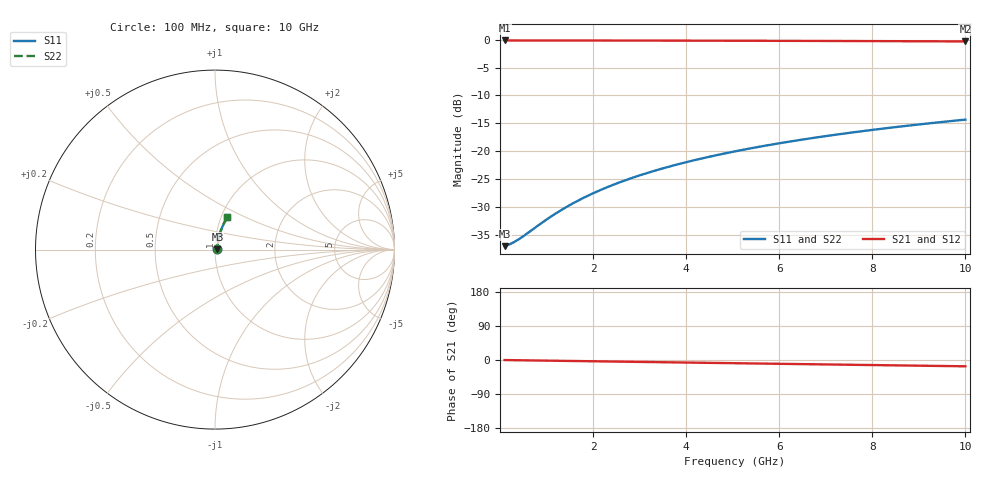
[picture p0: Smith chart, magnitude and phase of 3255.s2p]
# Hz S RI R 50.00
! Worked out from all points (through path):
!   100 points, 100 MHz to 10 GHz, reference 50 ohm
!   highest |S21| = -0.12 dB at 100 MHz (marker M1); lowest = -0.3 dB at 10 GHz (marker M2)
!   group delay of S21, straight-line fit = 4.62 ps
!   lowest |S11| = -37.1 dB at 100 MHz (marker M3), VSWR 1.03, Z = 51.4 + j0.198 ohm
!   |S11| at or under -10 dB: start of sweep to end of sweep
!   |S22| runs from -37.1 to -14.3 dB; largest |S21 - S12| = 0
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1e8  0.0139 0.00192  0.9861 -0.00289  0.9861 -0.00289  0.0139 0.00192
2e8  0.014 0.00385  0.986 -0.00578  0.986 -0.00578  0.014 0.00385
3e8  0.0141 0.00577  0.9859 -0.00867  0.9859 -0.00867  0.0141 0.00577
4e8  0.0142 0.00769  0.9858 -0.0116  0.9858 -0.0116  0.0142 0.00769
9e8  0.0147 0.0173  0.9852 -0.026  0.9852 -0.026  0.0147 0.0173
1.2e9  0.0152 0.023  0.9848 -0.0347  0.9848 -0.0347  0.0152 0.023
1.5e9  0.0157 0.0288  0.9842 -0.0433  0.9842 -0.0433  0.0157 0.0288
1.8e9  0.0163 0.0345  0.9835 -0.0519  0.9835 -0.0519  0.0163 0.0345
2.1e9  0.017 0.0402  0.9828 -0.0606  0.9828 -0.0606  0.017 0.0402
2.5e9  0.0181 0.0478  0.9816 -0.072  0.9816 -0.072  0.0181 0.0478
2.9e9  0.0194 0.0553  0.9802 -0.0835  0.9802 -0.0835  0.0194 0.0553
3.4e9  0.0212 0.0647  0.9782 -0.0977  0.9782 -0.0977  0.0212 0.0647
3.8e9  0.0228 0.0722  0.9764 -0.109  0.9764 -0.109  0.0228 0.0722
4.2e9  0.0247 0.0796  0.9745 -0.1203  0.9745 -0.1203  0.0247 0.0796
4.6e9  0.0267 0.087  0.9723 -0.1316  0.9723 -0.1316  0.0267 0.087
5.1e9  0.0294 0.0961  0.9693 -0.1456  0.9693 -0.1456  0.0294 0.0961
5.9e9  0.0343 0.1105  0.964 -0.1677  0.964 -0.1677  0.0343 0.1105
6.7e9  0.0398 0.1246  0.958 -0.1896  0.958 -0.1896  0.0398 0.1246
7.5e9  0.046 0.1384  0.9513 -0.2112  0.9513 -0.2112  0.046 0.1384
8.4e9  0.0536 0.1535  0.943 -0.2351  0.943 -0.2351  0.0536 0.1535
9.2e9  0.061 0.1665  0.9349 -0.2559  0.9349 -0.2559  0.061 0.1665
1e10  0.069 0.179  0.9262 -0.2763  0.9262 -0.2763  0.069 0.179
